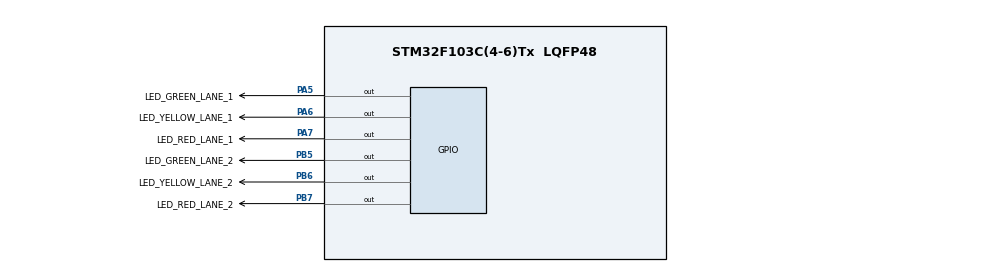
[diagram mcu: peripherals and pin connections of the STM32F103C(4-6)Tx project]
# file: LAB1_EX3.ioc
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Mcu.Family=STM32F1
Mcu.Name=STM32F103C(4-6)Tx
Mcu.Package=LQFP48
NVIC.PriorityGroup=NVIC_PRIORITYGROUP_4
PA5.GPIO_Label=LED_GREEN_LANE_1
PA5.Signal=GPIO_Output
PA6.GPIO_Label=LED_YELLOW_LANE_1
PA6.Signal=GPIO_Output
PA7.GPIO_Label=LED_RED_LANE_1
PA7.Signal=GPIO_Output
PB5.GPIO_Label=LED_GREEN_LANE_2
PB5.Signal=GPIO_Output
PB6.GPIO_Label=LED_YELLOW_LANE_2
PB6.Signal=GPIO_Output
PB7.GPIO_Label=LED_RED_LANE_2
PB7.Signal=GPIO_Output
ProjectManager.HeapSize=0x200
ProjectManager.StackSize=0x400
ProjectManager.TargetToolchain=STM32CubeIDE
RCC.APB1Freq_Value=8000000
RCC.APB2Freq_Value=8000000
board=custom

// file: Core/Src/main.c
/* USER CODE BEGIN Header */
/**
  ******************************************************************************
  * @file           : main.c
  * @brief          : Main program body
  ******************************************************************************
  * @attention
  *
  * Copyright (c) 2024 STMicroelectronics.
  * All rights reserved.
  *
  * This software is licensed under terms that can be found in the LICENSE file
  * in the root directory of this software component.
  * If no LICENSE file comes with this software, it is provided AS-IS.
  *
  ******************************************************************************
  */
/* USER CODE END Header */
#include "main.h"

void SystemClock_Config(void);
static void MX_GPIO_Init(void);

int main(void)
{

  /* MCU Configuration--------------------------------------------------------*/

  /* Reset of all peripherals, Initializes the Flash interface and the Systick. */
  HAL_Init();

  /* Configure the system clock */
  SystemClock_Config();

  /* Initialize all configured peripherals */
  MX_GPIO_Init();
  /* USER CODE BEGIN 2 */

  int state = 1;
  int timer = 0;
  int lane = 1;

  if(lane == 1){
	  if(state == 1) { // red is on
	    	  HAL_GPIO_WritePin(LED_RED_LANE_1_GPIO_Port, LED_RED_LANE_1_Pin, GPIO_PIN_RESET);
	    	  HAL_GPIO_WritePin(LED_YELLOW_LANE_1_GPIO_Port, LED_YELLOW_LANE_1_Pin, GPIO_PIN_SET);
	    	  HAL_GPIO_WritePin(LED_GREEN_LANE_1_GPIO_Port, LED_GREEN_LANE_1_Pin, GPIO_PIN_RESET);
	    	  timer = 4;
	      }
	      else if (state == 2) { // yellow is on
	    	  HAL_GPIO_WritePin(LED_RED_LANE_1_GPIO_Port, LED_RED_LANE_1_Pin, GPIO_PIN_SET);
	    	  HAL_GPIO_WritePin(LED_YELLOW_LANE_1_GPIO_Port, LED_YELLOW_LANE_1_Pin, GPIO_PIN_RESET);
	    	  HAL_GPIO_WritePin(LED_GREEN_LANE_1_GPIO_Port, LED_GREEN_LANE_1_Pin, GPIO_PIN_RESET);
	    	  timer = 1;
	      }
	      else {  // green is on
	    	  HAL_GPIO_WritePin(LED_RED_LANE_1_GPIO_Port, LED_RED_LANE_1_Pin, GPIO_PIN_SET);
	    	  HAL_GPIO_WritePin(LED_YELLOW_LANE_1_GPIO_Port, LED_YELLOW_LANE_1_Pin ,GPIO_PIN_SET);
	    	  HAL_GPIO_WritePin(LED_GREEN_LANE_1_GPIO_Port, LED_GREEN_LANE_1_Pin, GPIO_PIN_SET);
	    	  timer = 3; state = 2;
	      }

  }
  else  {
	  if(state == 1) { // red is on
	 	    	  HAL_GPIO_WritePin(LED_RED_LANE_2_GPIO_Port, LED_RED_LANE_2_Pin, GPIO_PIN_RESET);
	 	    	  HAL_GPIO_WritePin(LED_YELLOW_LANE_2_GPIO_Port, LED_YELLOW_LANE_2_Pin, GPIO_PIN_SET);
	 	    	  HAL_GPIO_WritePin(LED_GREEN_LANE_2_GPIO_Port, LED_GREEN_LANE_2_Pin, GPIO_PIN_RESET);
	 	    	  timer = 4;
	 	      }
	 	      else if (state == 2) { // yellow is on
	 	    	  HAL_GPIO_WritePin(LED_RED_LANE_2_GPIO_Port, LED_RED_LANE_2_Pin, GPIO_PIN_SET);
	 	    	  HAL_GPIO_WritePin(LED_YELLOW_LANE_2_GPIO_Port, LED_YELLOW_LANE_2_Pin, GPIO_PIN_RESET);
	 	    	  HAL_GPIO_WritePin(LED_GREEN_LANE_2_GPIO_Port, LED_GREEN_LANE_2_Pin, GPIO_PIN_RESET);
	 	    	  timer = 1;
	 	      }
	 	      else {  // green is on
	 	    	  HAL_GPIO_WritePin(LED_RED_LANE_2_GPIO_Port, LED_RED_LANE_2_Pin, GPIO_PIN_SET);
	 	    	  HAL_GPIO_WritePin(LED_YELLOW_LANE_2_GPIO_Port, LED_YELLOW_LANE_2_Pin ,GPIO_PIN_SET);
	 	    	  HAL_GPIO_WritePin(LED_GREEN_LANE_2_GPIO_Port, LED_GREEN_LANE_2_Pin, GPIO_PIN_SET);
	 	    	  timer = 3; state = 1;
	 	      }

  }

  /* USER CODE END 2 */

  /* Infinite loop */
  /* USER CODE BEGIN WHILE */
  while (1)
  {
	  if(timer <= 0 && lane == 1 ){
		  if(state == 1){// red -> yellow
			  HAL_GPIO_WritePin(LED_RED_LANE_1_GPIO_Port, LED_RED_LANE_1_Pin, GPIO_PIN_SET);
			  HAL_GPIO_WritePin(LED_YELLOW_LANE_1_GPIO_Port, LED_YELLOW_LANE_1_Pin, GPIO_PIN_RESET);
			  state = 2 ; timer = 1;
		  }
		  else if (state == 2){//  yellow-> green
			  HAL_GPIO_WritePin(LED_YELLOW_LANE_1_GPIO_Port, LED_YELLOW_LANE_1_Pin, GPIO_PIN_SET);
			  HAL_GPIO_WritePin(LED_GREEN_LANE_1_GPIO_Port, LED_GREEN_LANE_1_Pin, GPIO_PIN_SET);
			  state = 3 ; timer = 2;
		  }
		  else{//green -> red
			  HAL_GPIO_WritePin(LED_GREEN_LANE_1_GPIO_Port, LED_GREEN_LANE_1_Pin, GPIO_PIN_RESET);
			  HAL_GPIO_WritePin(LED_RED_LANE_1_GPIO_Port, LED_RED_LANE_1_Pin, GPIO_PIN_RESET);
			  state = 1 ; timer = 4; lane =2 ;
		  }
	  }
	  else if(timer <= 0 && lane == 2 ){
		  if(state == 1){// red -> yellow
			  HAL_GPIO_WritePin(LED_RED_LANE_2_GPIO_Port, LED_RED_LANE_2_Pin, GPIO_PIN_SET);
			  HAL_GPIO_WritePin(LED_YELLOW_LANE_2_GPIO_Port, LED_YELLOW_LANE_2_Pin, GPIO_PIN_RESET);
			  state = 2 ; timer = 1;
		  }
		  else if (state == 2){//  yellow-> green
			  HAL_GPIO_WritePin(LED_YELLOW_LANE_2_GPIO_Port, LED_YELLOW_LANE_2_Pin, GPIO_PIN_SET);
			  HAL_GPIO_WritePin(LED_GREEN_LANE_2_GPIO_Port, LED_GREEN_LANE_2_Pin, GPIO_PIN_SET);
			  state = 3 ; timer = 2;
		  }
		  else{//green -> red
			  HAL_GPIO_WritePin(LED_GREEN_LANE_2_GPIO_Port, LED_GREEN_LANE_2_Pin, GPIO_PIN_RESET);
			  HAL_GPIO_WritePin(LED_RED_LANE_2_GPIO_Port, LED_RED_LANE_2_Pin, GPIO_PIN_RESET);
			  state = 1 ; timer = 4; lane = 1;
		  }
	  }
	  else{
		  timer = timer - 1 ;
	  }
	  HAL_Delay(1000);
  }
}

void SystemClock_Config(void)
{
  RCC_OscInitTypeDef RCC_OscInitStruct = {0};
  RCC_ClkInitTypeDef RCC_ClkInitStruct = {0};

  /** Initializes the RCC Oscillators according to the specified parameters
  * in the RCC_OscInitTypeDef structure.
  */
  RCC_OscInitStruct.OscillatorType = RCC_OSCILLATORTYPE_HSI;
  RCC_OscInitStruct.HSIState = RCC_HSI_ON;
  RCC_OscInitStruct.HSICalibrationValue = RCC_HSICALIBRATION_DEFAULT;
  RCC_OscInitStruct.PLL.PLLState = RCC_PLL_NONE;
  if (HAL_RCC_OscConfig(&RCC_OscInitStruct) != HAL_OK)
  {
    Error_Handler();
  }

  /** Initializes the CPU, AHB and APB buses clocks
  */
  RCC_ClkInitStruct.ClockType = RCC_CLOCKTYPE_HCLK|RCC_CLOCKTYPE_SYSCLK
                              |RCC_CLOCKTYPE_PCLK1|RCC_CLOCKTYPE_PCLK2;
  RCC_ClkInitStruct.SYSCLKSource = RCC_SYSCLKSOURCE_HSI;
  RCC_ClkInitStruct.AHBCLKDivider = RCC_SYSCLK_DIV1;
  RCC_ClkInitStruct.APB1CLKDivider = RCC_HCLK_DIV1;
  RCC_ClkInitStruct.APB2CLKDivider = RCC_HCLK_DIV1;

  if (HAL_RCC_ClockConfig(&RCC_ClkInitStruct, FLASH_LATENCY_0) != HAL_OK)
  {
    Error_Handler();
  }
}

static void MX_GPIO_Init(void)
{
  GPIO_InitTypeDef GPIO_InitStruct = {0};

  /* GPIO Ports Clock Enable */
  __HAL_RCC_GPIOA_CLK_ENABLE();
  __HAL_RCC_GPIOB_CLK_ENABLE();

  /*Configure GPIO pin Output Level */
  HAL_GPIO_WritePin(GPIOA, LED_GREEN_LANE_1_Pin|LED_YELLOW_LANE_1_Pin|LED_RED_LANE_1_Pin, GPIO_PIN_RESET);

  /*Configure GPIO pin Output Level */
  HAL_GPIO_WritePin(GPIOB, LED_GREEN_LANE_2_Pin|LED_YELLOW_LANE_2_Pin|LED_RED_LANE_2_Pin, GPIO_PIN_RESET);

  /*Configure GPIO pins : LED_GREEN_LANE_1_Pin LED_YELLOW_LANE_1_Pin LED_RED_LANE_1_Pin */
  GPIO_InitStruct.Pin = LED_GREEN_LANE_1_Pin|LED_YELLOW_LANE_1_Pin|LED_RED_LANE_1_Pin;
  GPIO_InitStruct.Mode = GPIO_MODE_OUTPUT_PP;
  GPIO_InitStruct.Pull = GPIO_NOPULL;
  GPIO_InitStruct.Speed = GPIO_SPEED_FREQ_LOW;
  HAL_GPIO_Init(GPIOA, &GPIO_InitStruct);

  /*Configure GPIO pins : LED_GREEN_LANE_2_Pin LED_YELLOW_LANE_2_Pin LED_RED_LANE_2_Pin */
  GPIO_InitStruct.Pin = LED_GREEN_LANE_2_Pin|LED_YELLOW_LANE_2_Pin|LED_RED_LANE_2_Pin;
  GPIO_InitStruct.Mode = GPIO_MODE_OUTPUT_PP;
  GPIO_InitStruct.Pull = GPIO_NOPULL;
  GPIO_InitStruct.Speed = GPIO_SPEED_FREQ_LOW;
  HAL_GPIO_Init(GPIOB, &GPIO_InitStruct);

}

void Error_Handler(void)
{
  __disable_irq();
  while (1)
  {
  }
}
